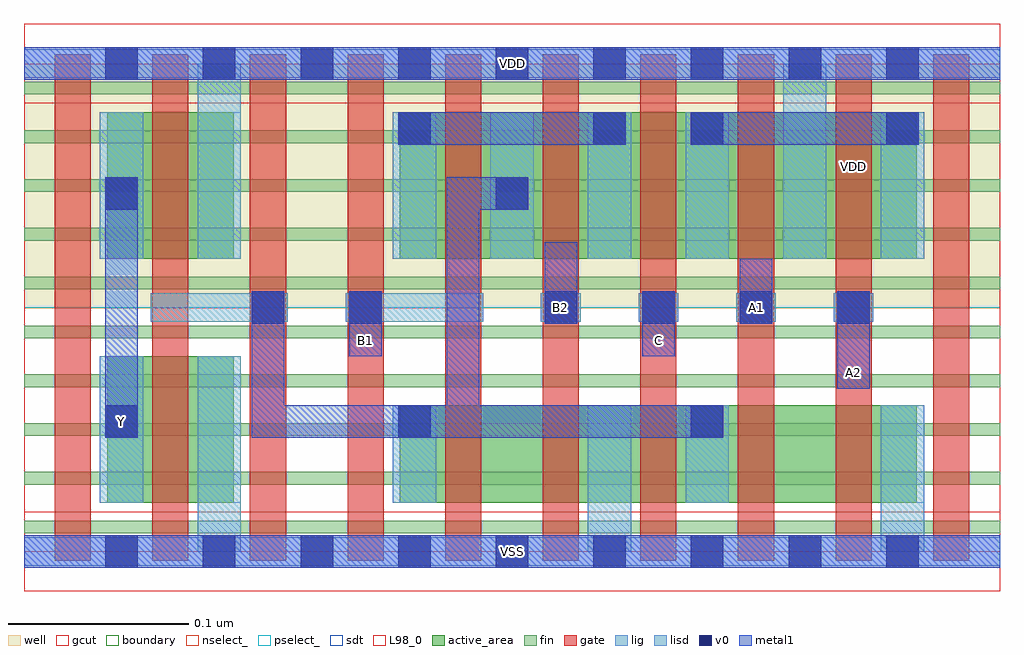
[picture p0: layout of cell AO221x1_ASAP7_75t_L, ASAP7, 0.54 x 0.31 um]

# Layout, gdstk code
import gdstk
lib = gdstk.Library(unit=1e-6, precision=2.5e-10)
def R(c, l, rs):  # rectangles x0, y0, x1, y1
    for r in rs: c.add(gdstk.rectangle(r[:2], r[2:], *l))
def A(c, l, x, y, w, h, nx, ny, dx, dy):  # array of equal rectangles
    R(c, l, [(x+i*dx, y+j*dy, x+i*dx+w, y+j*dy+h) for i in range(nx) for j in range(ny)])
def P(c, l, *ps):  # polygons
    for p in ps: c.add(gdstk.Polygon(p, *l))
well = (1, 0)
fin = (2, 0)
gate = (7, 0)
gcut = (10, 0)
active_area = (11, 0)
nselect_ = (12, 0)
pselect_ = (13, 0)
lig = (16, 0)
lisd = (17, 0)
v0 = (18, 0)
metal1 = (19, 0)
sdt = (88, 0)
L98_0 = (98, 0)
boundary = (100, 0)

ao221x1_asap7_75t_l = lib.new_cell('AO221x1_ASAP7_75t_L')
R(ao221x1_asap7_75t_l, well, [(0,0.135,0.54,0.27)])
A(ao221x1_asap7_75t_l, fin, 0, 0.01, 0.54, 0.007, 1, 10, 0, 0.027)
A(ao221x1_asap7_75t_l, gate, 0.017, -0.005, 0.02, 0.28, 10, 1, 0.054, 0)
R(ao221x1_asap7_75t_l, gcut, [(0,-0.022,0.54,0.022), (0,0.248,0.54,0.292)])
R(ao221x1_asap7_75t_l, active_area, [(0.046,0.027,0.116,0.108), (0.208,0.027,0.494,0.081), (0.046,0.162,0.116,0.243), (0.208,0.162,0.494,0.243)])
R(ao221x1_asap7_75t_l, nselect_, [(0,0,0.54,0.135)])
R(ao221x1_asap7_75t_l, pselect_, [(0,0.135,0.54,0.27)])
A(ao221x1_asap7_75t_l, lig, 0.286, 0.127, 0.022, 0.016, 4, 1, 0.054, 0)
R(ao221x1_asap7_75t_l, lig, [(0,-0.008,0.54,0.008), (0.07,0.127,0.146,0.143), (0.178,0.127,0.254,0.143), (0,0.262,0.54,0.278)])
A(ao221x1_asap7_75t_l, lisd, 0.204, 0.162, 0.024, 0.081, 4, 1, 0.054, 0)
R(ao221x1_asap7_75t_l, lisd, [(0.096,0,0.12,0.108), (0.312,0,0.336,0.081), (0.474,0,0.498,0.081), (0.042,0.027,0.066,0.108), (0.204,0.027,0.228,0.081), (0.366,0.027,0.39,0.081), (0.042,0.162,0.066,0.243), (0.096,0.162,0.12,0.27), (0.42,0.162,0.444,0.27), (0.474,0.162,0.498,0.243)])
A(ao221x1_asap7_75t_l, v0, 0.045, -0.009, 0.018, 0.018, 9, 2, 0.054, 0.27)
A(ao221x1_asap7_75t_l, v0, 0.045, 0.063, 0.018, 0.018, 3, 1, 0.162, 0)
A(ao221x1_asap7_75t_l, v0, 0.288, 0.126, 0.018, 0.018, 4, 1, 0.054, 0)
R(ao221x1_asap7_75t_l, v0, [(0.126,0.126,0.144,0.144), (0.18,0.126,0.198,0.144), (0.045,0.189,0.063,0.207), (0.261,0.189,0.279,0.207), (0.207,0.225,0.225,0.243), (0.315,0.225,0.333,0.243), (0.369,0.225,0.387,0.243), (0.477,0.225,0.495,0.243)])
R(ao221x1_asap7_75t_l, metal1, [(0,-0.009,0.54,0.009), (0.045,0.063,0.063,0.207), (0.45,0.09,0.468,0.144), (0.18,0.108,0.198,0.144), (0.342,0.108,0.36,0.144), (0.288,0.126,0.306,0.171), (0.396,0.126,0.414,0.162), (0.207,0.225,0.333,0.243), (0.369,0.225,0.495,0.243), (0,0.261,0.54,0.279)])
P(ao221x1_asap7_75t_l, metal1, [(0.387,0.081),(0.252,0.081),(0.252,0.189),(0.279,0.189),(0.279,0.207),(0.234,0.207),(0.234,0.081),(0.144,0.081),(0.144,0.144),(0.126,0.144),(0.126,0.063),(0.387,0.063)])
A(ao221x1_asap7_75t_l, sdt, 0.204, 0.162, 0.024, 0.081, 6, 1, 0.054, 0)
R(ao221x1_asap7_75t_l, sdt, [(0.042,0.027,0.066,0.108), (0.096,0.027,0.12,0.108), (0.204,0.027,0.228,0.081), (0.312,0.027,0.336,0.081), (0.366,0.027,0.39,0.081), (0.474,0.027,0.498,0.081), (0.042,0.162,0.066,0.243), (0.096,0.162,0.12,0.243)])
R(ao221x1_asap7_75t_l, L98_0, [(0,0,0.54,0.27)])
R(ao221x1_asap7_75t_l, boundary, [(0,0,0.54,0.27)])
ao221x1_asap7_75t_l.add(gdstk.Label('Y', (0.054,0.072), layer=19, texttype=251))
ao221x1_asap7_75t_l.add(gdstk.Label('C', (0.351,0.117), layer=19, texttype=251))
ao221x1_asap7_75t_l.add(gdstk.Label('B2', (0.297,0.135), layer=19, texttype=251))
ao221x1_asap7_75t_l.add(gdstk.Label('B1', (0.189,0.117), layer=19, texttype=251))
ao221x1_asap7_75t_l.add(gdstk.Label('A2', (0.459,0.099), layer=19, texttype=251))
ao221x1_asap7_75t_l.add(gdstk.Label('A1', (0.405,0.135), layer=19, texttype=251))
ao221x1_asap7_75t_l.add(gdstk.Label('VSS', (0.27,0), layer=19, texttype=251))
ao221x1_asap7_75t_l.add(gdstk.Label('VDD', (0.27,0.27), layer=19, texttype=251))
ao221x1_asap7_75t_l.add(gdstk.Label('VDD', (0.459,0.213), layer=1, texttype=251))
ao221x1_asap7_75t_l.add(gdstk.Label('VSS', (0.621,0.213), layer=3, texttype=251))

lib.write_gds('AO221x1_ASAP7_75t_L.gds')
